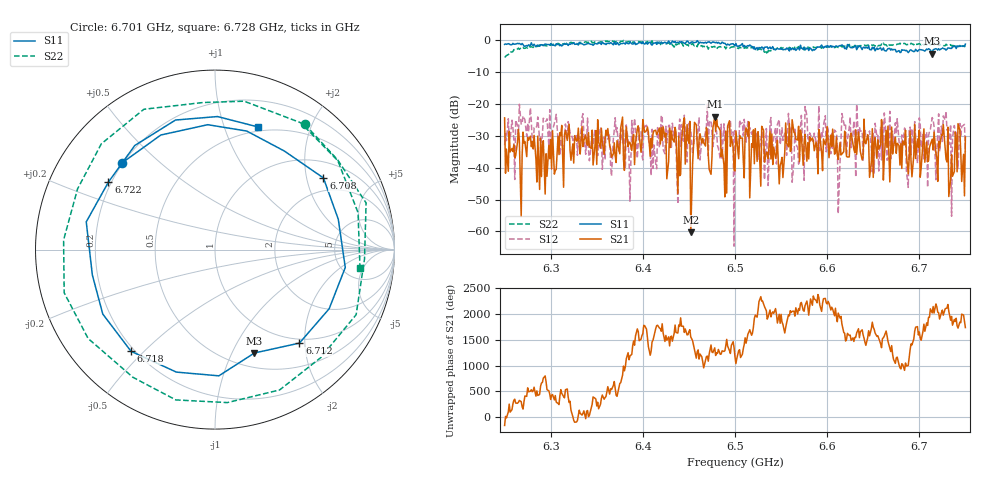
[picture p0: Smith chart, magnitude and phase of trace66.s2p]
# Hz S RI R 50
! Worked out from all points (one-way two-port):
!   401 points, 6.25 GHz to 6.75 GHz, reference 50 ohm
!   highest |S21| = -24.05 dB at 6.478 GHz (marker M1); lowest = -60.3 dB at 6.452 GHz (marker M2)
!   lowest |S11| = -4.2 dB at 6.714 GHz (marker M3), VSWR 4.22, Z = 32.9 - j61.2 ohm
!   |S11| at or under -10 dB: nowhere
!   |S22| runs from -5.4 to -0.1 dB; largest |S21 - S12| = 0.12
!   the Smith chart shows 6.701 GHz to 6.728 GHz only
!   S11 on the Smith chart (normalised r, x): 6.701 GHz: 0.20, +0.38; 6.708 GHz: 1.50, +2.53; 6.712 GHz: 0.92, -1.89; 6.718 GHz: 0.19, -0.46; 6.722 GHz: 0.19, +0.28; 6.728 GHz: 0.45, +1.30
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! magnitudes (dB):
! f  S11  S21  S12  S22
! 6.25 GHz  -1.3  -24.4  -33.0  -5.4
! 6.296 GHz  -1.4  -42.7  -24.7  -1.9
! 6.334 GHz  -1.1  -27.1  -24.3  -0.8
! 6.418 GHz  -1.0  -27.6  -33.8  -0.6
! 6.452 GHz  -0.7  -60.3  -27.9  -1.5
! 6.478 GHz  -0.7  -24.1  -28.7  -2.0
! 6.489 GHz  -1.0  -49.2  -31.5  -2.1
! 6.5 GHz  -1.7  -41.0  -28.4  -2.3
! 6.508 GHz  -1.1  -30.7  -25.9  -2.3
! 6.534 GHz  -2.2  -35.1  -27.7  -3.7
! 6.584 GHz  -3.3  -30.7  -31.1  -2.3
! 6.668 GHz  -2.6  -44.5  -22.3  -1.6
! 6.701 GHz  -3.0  -43.0  -26.6  -1.3
! 6.708 GHz  -2.8  -32.0  -28.8  -1.5
! 6.712 GHz  -3.1  -32.7  -28.0  -1.5
! 6.714 GHz  -4.2  -31.1  -24.3  -1.3
! 6.718 GHz  -2.7  -35.5  -43.8  -1.5
! 6.722 GHz  -3.1  -33.7  -34.9  -1.5
! 6.728 GHz  -2.8  -33.9  -25.0  -1.8
! 6.735 GHz  -2.6  -35.9  -55.2  -1.8
! 6.741 GHz  -2.0  -41.3  -34.5  -1.9
! 6.75 GHz  -1.3  -30.4  -35.1  -2.0
